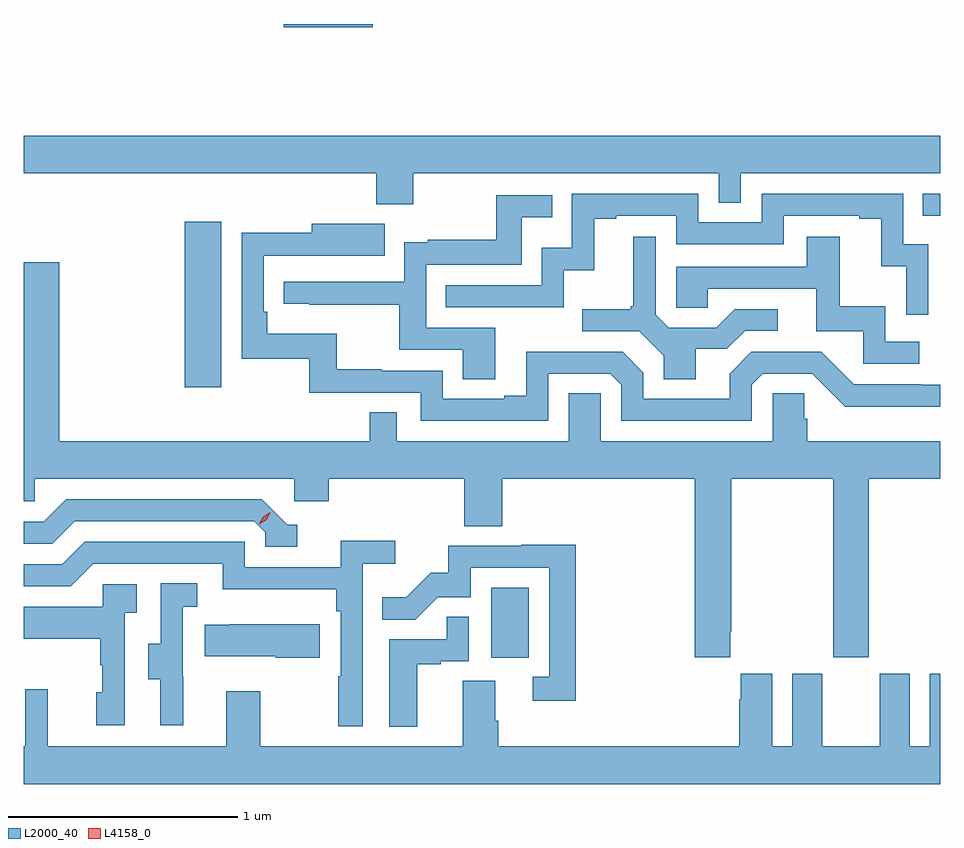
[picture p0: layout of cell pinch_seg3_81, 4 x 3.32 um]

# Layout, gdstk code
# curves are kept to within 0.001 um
import gdstk
lib = gdstk.Library(unit=1e-6, precision=1e-09)
def R(c, l, rs):  # rectangles x0, y0, x1, y1
    for r in rs: c.add(gdstk.rectangle(r[:2], r[2:], *l))
def P(c, l, *ps):  # polygons
    for p in ps: c.add(gdstk.Polygon(p, *l))
L2000_40 = (2000, 40)
L4158_0 = (4158, 0)

pinch_seg3_81 = lib.new_cell('pinch_seg3_81')
R(pinch_seg3_81, L2000_40, [(1059.134,726.774,1059.298,727.081), (1057.796,727.956,1057.957,728.677), (1061.017,728.703,1061.094,728.799), (1058.228,729.526,1058.617,729.54)])
P(pinch_seg3_81, L2000_40, [(1058.793,728.888),(1060.128,728.888),(1060.128,728.761),(1060.224,728.761),(1060.224,728.888),(1061.094,728.888),(1061.094,729.052),(1057.094,729.052),(1057.094,728.888),(1058.633,728.888),(1058.633,728.753),(1058.793,728.753)],
  [(1061.04,728.58),(1060.932,728.58),(1060.932,728.799),(1060.314,728.799),(1060.314,728.676),(1060.038,728.676),(1060.038,728.799),(1059.486,728.799),(1059.486,728.563),(1059.354,728.563),(1059.354,728.4),(1058.935,728.4),(1058.935,728.304),(1059.45,728.304),(1059.45,728.465),(1059.583,728.465),(1059.583,728.691),(1059.679,728.691),(1059.679,728.703),(1059.942,728.703),(1059.942,728.58),(1060.41,728.58),(1060.41,728.703),(1060.739,728.703),(1060.739,728.691),(1060.835,728.691),(1060.835,728.483),(1060.944,728.483),(1060.944,728.271),(1061.04,728.271)],
  [(1059.151,728.214),(1058.85,728.214),(1058.85,728.49),(1059.267,728.49),(1059.267,728.696),(1059.401,728.696),(1059.401,728.793),(1059.156,728.793),(1059.156,728.599),(1058.857,728.599),(1058.857,728.587),(1058.754,728.587),(1058.754,728.415),(1058.229,728.415),(1058.229,728.319),(1058.341,728.319),(1058.341,728.314),(1058.734,728.314),(1058.734,728.118),(1059.011,728.118),(1059.011,727.99),(1059.151,727.99)],
  [(1059.384,728.013),(1059.654,728.013),(1059.702,727.965),(1059.702,727.809),(1060.272,727.809),(1060.272,727.965),(1060.32,728.013),(1060.536,728.013),(1060.678,727.871),(1060.914,727.871),(1060.914,727.869),(1061.094,727.869),(1061.094,727.965),(1061.009,727.965),(1061.009,727.968),(1060.716,727.968),(1060.575,728.109),(1060.269,728.109),(1060.175,728.015),(1060.175,727.905),(1059.798,727.905),(1059.798,728.019),(1059.708,728.109),(1059.492,728.109),(1059.492,728.111),(1059.287,728.111),(1059.287,727.918),(1059.191,727.918),(1059.191,727.905),(1058.922,727.905),(1058.922,728.028),(1058.657,728.028),(1058.657,728.033),(1058.461,728.033),(1058.461,728.188),(1058.156,728.188),(1058.156,728.284),(1058.142,728.284),(1058.142,728.529),(1058.669,728.528),(1058.669,728.668),(1058.351,728.668),(1058.351,728.63),(1058.046,728.63),(1058.046,728.079),(1058.34,728.079),(1058.34,727.932),(1058.826,727.932),(1058.826,727.809),(1059.384,727.809)],
  [(1061.002,728.154),(1060.854,728.154),(1060.854,728.308),(1060.655,728.308),(1060.655,728.611),(1060.511,728.611),(1060.511,728.481),(1059.942,728.481),(1059.942,728.301),(1060.079,728.301),(1060.079,728.385),(1060.553,728.385),(1060.553,728.199),(1060.758,728.199),(1060.758,728.058),(1061.002,728.058)],
  [(1060.027,728.122),(1060.162,728.122),(1060.242,728.202),(1060.384,728.202),(1060.384,728.295),(1060.196,728.295),(1060.115,728.214),(1059.909,728.214),(1059.852,728.271),(1059.852,728.611),(1059.755,728.611),(1059.755,728.308),(1059.744,728.308),(1059.744,728.296),(1059.531,728.296),(1059.531,728.199),(1059.78,728.199),(1059.887,728.092),(1059.887,727.99),(1060.027,727.99)],
  [(1060.177,726.889),(1060.182,726.889),(1060.182,727.556),(1060.627,727.556),(1060.627,726.777),(1060.782,726.777),(1060.782,727.556),(1061.094,727.556),(1061.094,727.72),(1060.514,727.72),(1060.514,727.818),(1060.499,727.818),(1060.499,727.928),(1060.362,727.928),(1060.362,727.72),(1059.612,727.72),(1059.612,727.928),(1059.473,727.928),(1059.473,727.72),(1058.721,727.72),(1058.721,727.847),(1058.605,727.847),(1058.605,727.72),(1057.25,727.72),(1057.25,728.5),(1057.094,728.5),(1057.094,727.458),(1057.143,727.458),(1057.143,727.556),(1058.274,727.556),(1058.274,727.458),(1058.426,727.458),(1058.426,727.556),(1059.017,727.556),(1059.017,727.348),(1059.182,727.348),(1059.182,727.556),(1060.022,727.556),(1060.022,726.777),(1060.177,726.777)],
  [(1058.287,727.356),(1058.244,727.356),(1058.133,727.467),(1057.28,727.467),(1057.181,727.368),(1057.094,727.368),(1057.094,727.272),(1057.218,727.272),(1057.317,727.371),(1058.1,727.371),(1058.148,727.323),(1058.148,727.26),(1058.287,727.26)],
  [(1058.574,727.184),(1058.716,727.184),(1058.716,727.286),(1058.477,727.286),(1058.477,727.17),(1058.058,727.17),(1058.058,727.281),(1057.361,727.281),(1057.262,727.182),(1057.094,727.182),(1057.094,727.086),(1057.299,727.086),(1057.398,727.185),(1057.962,727.185),(1057.962,727.073),(1058.458,727.073),(1058.458,726.977),(1058.478,726.977),(1058.478,726.695),(1058.466,726.695),(1058.466,726.477),(1058.574,726.477)],
  [(1059.503,727.268),(1059.265,727.268),(1059.265,727.263),(1058.947,727.263),(1058.947,727.146),(1058.87,727.146),(1058.763,727.039),(1058.659,727.039),(1058.659,726.94),(1058.802,726.94),(1058.9,727.038),(1059.045,727.038),(1059.045,727.167),(1059.387,727.167),(1059.387,726.693),(1059.315,726.693),(1059.315,726.588),(1059.503,726.588)],
  [(1057.79,726.693),(1057.788,726.693),(1057.788,726.997),(1057.852,726.997),(1057.852,727.1),(1057.692,727.1),(1057.692,726.837),(1057.637,726.837),(1057.637,726.682),(1057.691,726.682),(1057.691,726.48),(1057.79,726.48)],
  [(1057.536,726.971),(1057.588,726.971),(1057.588,727.095),(1057.44,727.095),(1057.44,726.997),(1057.094,726.997),(1057.094,726.857),(1057.428,726.857),(1057.428,726.743),(1057.438,726.743),(1057.438,726.624),(1057.412,726.624),(1057.412,726.48),(1057.536,726.48)],
  [(1058.812,726.747),(1058.915,726.747),(1058.915,726.759),(1059.036,726.759),(1059.036,726.953),(1058.941,726.953),(1058.941,726.855),(1058.69,726.855),(1058.69,726.473),(1058.812,726.473)],
  [(1058.386,726.922),(1057.993,726.922),(1057.993,726.919),(1057.885,726.919),(1057.885,726.782),(1058.195,726.782),(1058.195,726.775),(1058.386,726.775)],
  [(1061.094,726.706),(1061.048,726.706),(1061.048,726.388),(1060.96,726.388),(1060.96,726.706),(1060.829,726.706),(1060.829,726.388),(1060.579,726.388),(1060.579,726.706),(1060.448,726.706),(1060.448,726.388),(1060.36,726.388),(1060.36,726.706),(1060.223,726.706),(1060.223,726.593),(1060.217,726.593),(1060.217,726.388),(1059.164,726.388),(1059.164,726.5),(1059.151,726.5),(1059.151,726.674),(1059.011,726.674),(1059.011,726.388),(1058.127,726.388),(1058.127,726.628),(1057.979,726.628),(1057.979,726.388),(1057.199,726.388),(1057.199,726.637),(1057.101,726.637),(1057.101,726.388),(1057.094,726.388),(1057.094,726.224),(1061.094,726.224)])
P(pinch_seg3_81, L4158_0, [(1058.122,727.358),(1058.122,727.359),(1058.139,727.391),(1058.171,727.409),(1058.171,727.409),(1058.171,727.409),(1058.154,727.377),(1058.122,727.358)])

lib.write_gds('pinch_seg3_81.gds')
